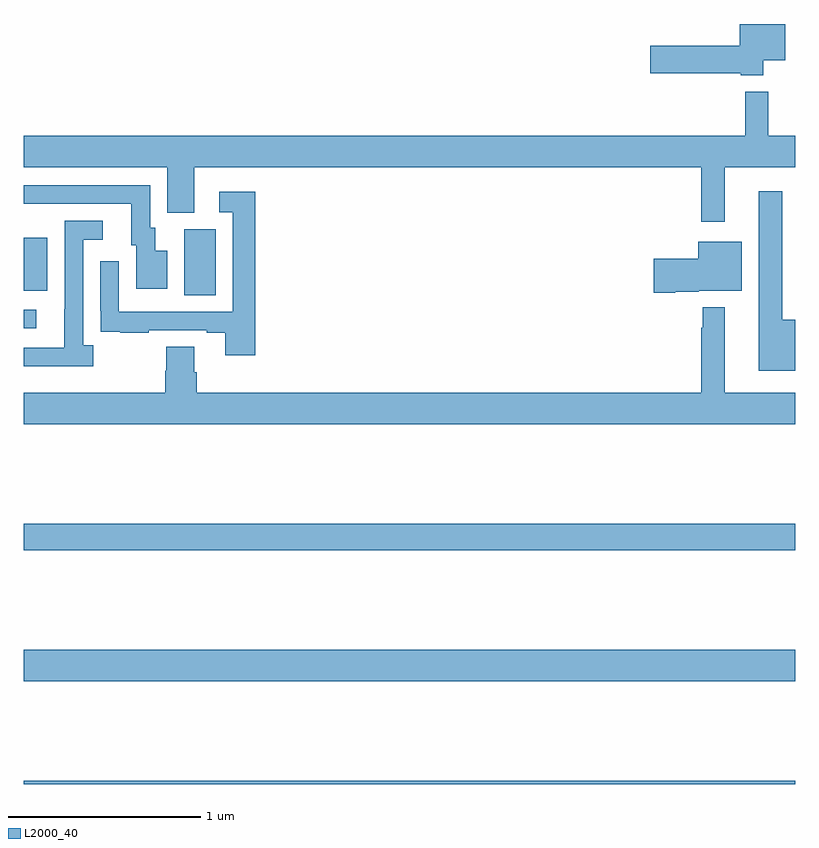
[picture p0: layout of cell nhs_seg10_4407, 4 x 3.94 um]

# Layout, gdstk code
import gdstk
lib = gdstk.Library(unit=1e-6, precision=1e-09)
def R(c, l, rs):  # rectangles x0, y0, x1, y1
    for r in rs: c.add(gdstk.rectangle(r[:2], r[2:], *l))
def P(c, l, *ps):  # polygons
    for p in ps: c.add(gdstk.Polygon(p, *l))
L2000_40 = (2000, 40)

nhs_seg10_4407 = lib.new_cell('nhs_seg10_4407')
R(nhs_seg10_4407, L2000_40, [(361,1250.5,365,1250.516), (361,1251.032,365,1251.196), (361,1251.712,365,1251.848), (361,1252.863,361.066,1252.959), (361.832,1253.032,361.996,1253.376), (361,1253.057,361.123,1253.332)])
P(nhs_seg10_4407, L2000_40, [(364.834,1254.251),(364.948,1254.251),(364.948,1254.439),(364.712,1254.439),(364.712,1254.326),(364.248,1254.326),(364.248,1254.184),(364.716,1254.184),(364.716,1254.173),(364.834,1254.173)],
  [(364.633,1253.696),(365,1253.696),(365,1253.86),(364.859,1253.86),(364.859,1254.088),(364.741,1254.088),(364.741,1253.86),(361,1253.86),(361,1253.696),(361.745,1253.696),(361.745,1253.461),(361.885,1253.461),(361.885,1253.696),(364.512,1253.696),(364.512,1253.415),(364.633,1253.415)],
  [(361.744,1253.263),(361.681,1253.263),(361.681,1253.382),(361.656,1253.382),(361.656,1253.604),(361,1253.604),(361,1253.508),(361.559,1253.508),(361.559,1253.292),(361.583,1253.292),(361.583,1253.067),(361.744,1253.067)],
  [(365,1252.906),(364.933,1252.906),(364.933,1253.572),(364.811,1253.572),(364.811,1252.643),(365,1252.643)],
  [(362.201,1253.569),(362.013,1253.569),(362.013,1253.463),(362.085,1253.463),(362.085,1252.947),(361.494,1252.947),(361.494,1253.209),(361.398,1253.209),(361.398,1252.954),(361.399,1252.954),(361.399,1252.845),(361.501,1252.845),(361.501,1252.839),(361.649,1252.839),(361.649,1252.851),(361.949,1252.851),(361.949,1252.839),(362.045,1252.839),(362.045,1252.722),(362.201,1252.722)],
  [(361.36,1252.774),(361.308,1252.774),(361.308,1253.322),(361.411,1253.322),(361.411,1253.418),(361.212,1253.418),(361.212,1252.961),(361.211,1252.961),(361.211,1252.761),(361,1252.761),(361,1252.664),(361.36,1252.664)],
  [(364.378,1253.051),(364.5,1253.051),(364.5,1253.057),(364.723,1253.057),(364.723,1253.311),(364.496,1253.311),(364.496,1253.223),(364.266,1253.223),(364.266,1253.045),(364.378,1253.045)],
  [(365,1252.528),(364.633,1252.528),(364.633,1252.972),(364.519,1252.972),(364.519,1252.865),(364.512,1252.865),(364.512,1252.528),(361.898,1252.528),(361.898,1252.634),(361.885,1252.634),(361.885,1252.766),(361.738,1252.766),(361.738,1252.641),(361.733,1252.641),(361.733,1252.528),(361,1252.528),(361,1252.364),(365,1252.364)])

lib.write_gds('nhs_seg10_4407.gds')
